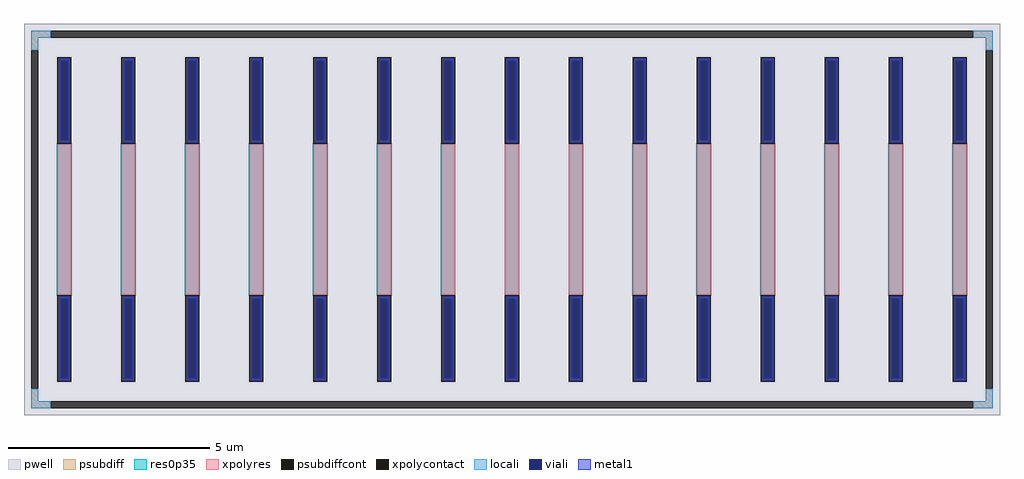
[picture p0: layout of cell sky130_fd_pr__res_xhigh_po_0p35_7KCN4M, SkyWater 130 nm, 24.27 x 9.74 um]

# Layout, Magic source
magic
tech sky130A
magscale 1 2
<< pwell >>
rect -2427 -974 2427 974
<< psubdiff >>
rect -2391 904 -2295 938
rect 2295 904 2391 938
rect -2391 842 -2357 904
rect 2357 842 2391 904
rect -2391 -904 -2357 -842
rect 2357 -904 2391 -842
rect -2391 -938 -2295 -904
rect 2295 -938 2391 -904
<< psubdiffcont >>
rect -2295 904 2295 938
rect -2391 -842 -2357 842
rect 2357 -842 2391 842
rect -2295 -938 2295 -904
<< xpolycontact >>
rect -2261 376 -2191 808
rect -2261 -808 -2191 -376
rect -1943 376 -1873 808
rect -1943 -808 -1873 -376
rect -1625 376 -1555 808
rect -1625 -808 -1555 -376
rect -1307 376 -1237 808
rect -1307 -808 -1237 -376
rect -989 376 -919 808
rect -989 -808 -919 -376
rect -671 376 -601 808
rect -671 -808 -601 -376
rect -353 376 -283 808
rect -353 -808 -283 -376
rect -35 376 35 808
rect -35 -808 35 -376
rect 283 376 353 808
rect 283 -808 353 -376
rect 601 376 671 808
rect 601 -808 671 -376
rect 919 376 989 808
rect 919 -808 989 -376
rect 1237 376 1307 808
rect 1237 -808 1307 -376
rect 1555 376 1625 808
rect 1555 -808 1625 -376
rect 1873 376 1943 808
rect 1873 -808 1943 -376
rect 2191 376 2261 808
rect 2191 -808 2261 -376
<< xpolyres >>
rect -2261 -376 -2191 376
rect -1943 -376 -1873 376
rect -1625 -376 -1555 376
rect -1307 -376 -1237 376
rect -989 -376 -919 376
rect -671 -376 -601 376
rect -353 -376 -283 376
rect -35 -376 35 376
rect 283 -376 353 376
rect 601 -376 671 376
rect 919 -376 989 376
rect 1237 -376 1307 376
rect 1555 -376 1625 376
rect 1873 -376 1943 376
rect 2191 -376 2261 376
<< locali >>
rect -2391 904 -2295 938
rect 2295 904 2391 938
rect -2391 842 -2357 904
rect 2357 842 2391 904
rect -2391 -904 -2357 -842
rect 2357 -904 2391 -842
rect -2391 -938 -2295 -904
rect 2295 -938 2391 -904
<< viali >>
rect -2245 393 -2207 790
rect -1927 393 -1889 790
rect -1609 393 -1571 790
rect -1291 393 -1253 790
rect -973 393 -935 790
rect -655 393 -617 790
rect -337 393 -299 790
rect -19 393 19 790
rect 299 393 337 790
rect 617 393 655 790
rect 935 393 973 790
rect 1253 393 1291 790
rect 1571 393 1609 790
rect 1889 393 1927 790
rect 2207 393 2245 790
rect -2245 -790 -2207 -393
rect -1927 -790 -1889 -393
rect -1609 -790 -1571 -393
rect -1291 -790 -1253 -393
rect -973 -790 -935 -393
rect -655 -790 -617 -393
rect -337 -790 -299 -393
rect -19 -790 19 -393
rect 299 -790 337 -393
rect 617 -790 655 -393
rect 935 -790 973 -393
rect 1253 -790 1291 -393
rect 1571 -790 1609 -393
rect 1889 -790 1927 -393
rect 2207 -790 2245 -393
<< metal1 >>
rect -2251 790 -2201 802
rect -2251 393 -2245 790
rect -2207 393 -2201 790
rect -2251 381 -2201 393
rect -1933 790 -1883 802
rect -1933 393 -1927 790
rect -1889 393 -1883 790
rect -1933 381 -1883 393
rect -1615 790 -1565 802
rect -1615 393 -1609 790
rect -1571 393 -1565 790
rect -1615 381 -1565 393
rect -1297 790 -1247 802
rect -1297 393 -1291 790
rect -1253 393 -1247 790
rect -1297 381 -1247 393
rect -979 790 -929 802
rect -979 393 -973 790
rect -935 393 -929 790
rect -979 381 -929 393
rect -661 790 -611 802
rect -661 393 -655 790
rect -617 393 -611 790
rect -661 381 -611 393
rect -343 790 -293 802
rect -343 393 -337 790
rect -299 393 -293 790
rect -343 381 -293 393
rect -25 790 25 802
rect -25 393 -19 790
rect 19 393 25 790
rect -25 381 25 393
rect 293 790 343 802
rect 293 393 299 790
rect 337 393 343 790
rect 293 381 343 393
rect 611 790 661 802
rect 611 393 617 790
rect 655 393 661 790
rect 611 381 661 393
rect 929 790 979 802
rect 929 393 935 790
rect 973 393 979 790
rect 929 381 979 393
rect 1247 790 1297 802
rect 1247 393 1253 790
rect 1291 393 1297 790
rect 1247 381 1297 393
rect 1565 790 1615 802
rect 1565 393 1571 790
rect 1609 393 1615 790
rect 1565 381 1615 393
rect 1883 790 1933 802
rect 1883 393 1889 790
rect 1927 393 1933 790
rect 1883 381 1933 393
rect 2201 790 2251 802
rect 2201 393 2207 790
rect 2245 393 2251 790
rect 2201 381 2251 393
rect -2251 -393 -2201 -381
rect -2251 -790 -2245 -393
rect -2207 -790 -2201 -393
rect -2251 -802 -2201 -790
rect -1933 -393 -1883 -381
rect -1933 -790 -1927 -393
rect -1889 -790 -1883 -393
rect -1933 -802 -1883 -790
rect -1615 -393 -1565 -381
rect -1615 -790 -1609 -393
rect -1571 -790 -1565 -393
rect -1615 -802 -1565 -790
rect -1297 -393 -1247 -381
rect -1297 -790 -1291 -393
rect -1253 -790 -1247 -393
rect -1297 -802 -1247 -790
rect -979 -393 -929 -381
rect -979 -790 -973 -393
rect -935 -790 -929 -393
rect -979 -802 -929 -790
rect -661 -393 -611 -381
rect -661 -790 -655 -393
rect -617 -790 -611 -393
rect -661 -802 -611 -790
rect -343 -393 -293 -381
rect -343 -790 -337 -393
rect -299 -790 -293 -393
rect -343 -802 -293 -790
rect -25 -393 25 -381
rect -25 -790 -19 -393
rect 19 -790 25 -393
rect -25 -802 25 -790
rect 293 -393 343 -381
rect 293 -790 299 -393
rect 337 -790 343 -393
rect 293 -802 343 -790
rect 611 -393 661 -381
rect 611 -790 617 -393
rect 655 -790 661 -393
rect 611 -802 661 -790
rect 929 -393 979 -381
rect 929 -790 935 -393
rect 973 -790 979 -393
rect 929 -802 979 -790
rect 1247 -393 1297 -381
rect 1247 -790 1253 -393
rect 1291 -790 1297 -393
rect 1247 -802 1297 -790
rect 1565 -393 1615 -381
rect 1565 -790 1571 -393
rect 1609 -790 1615 -393
rect 1565 -802 1615 -790
rect 1883 -393 1933 -381
rect 1883 -790 1889 -393
rect 1927 -790 1933 -393
rect 1883 -802 1933 -790
rect 2201 -393 2251 -381
rect 2201 -790 2207 -393
rect 2245 -790 2251 -393
rect 2201 -802 2251 -790
<< res0p35 >>
rect -2263 -378 -2189 378
rect -1945 -378 -1871 378
rect -1627 -378 -1553 378
rect -1309 -378 -1235 378
rect -991 -378 -917 378
rect -673 -378 -599 378
rect -355 -378 -281 378
rect -37 -378 37 378
rect 281 -378 355 378
rect 599 -378 673 378
rect 917 -378 991 378
rect 1235 -378 1309 378
rect 1553 -378 1627 378
rect 1871 -378 1945 378
rect 2189 -378 2263 378
<< properties >>
string gencell sky130_fd_pr__res_xhigh_po_0p35
string FIXED_BBOX -2374 -921 2374 921
string parameters w 0.350 l 3.763 m 1 nx 15 wmin 0.350 lmin 0.50 rho 2000 val 22.188k dummy 0 dw 0.0 term 120 sterm 0.0 caplen 0 wmax 0.350 guard 1 glc 1 grc 1 gtc 1 gbc 1 compatible {sky130_fd_pr__res_xhigh_po_0p35  sky130_fd_pr__res_xhigh_po_0p69 sky130_fd_pr__res_xhigh_po_1p41  sky130_fd_pr__res_xhigh_po_2p85 sky130_fd_pr__res_xhigh_po_5p73} full_metal 1 vias 1 viagb 0 viagt 0 viagl 0 viagr 0
string library sky130
<< end >>
